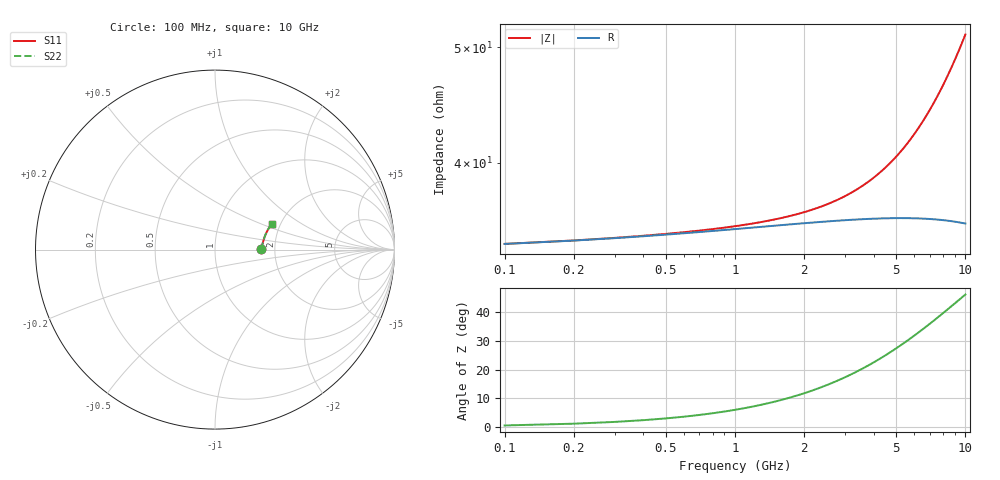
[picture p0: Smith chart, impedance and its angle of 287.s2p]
# Hz S RI R 50.00
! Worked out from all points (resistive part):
!   100 points, 100 MHz to 10 GHz, reference 50 ohm
!   read as one part in series: R = 34.2 ohm at 100 MHz
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1e8  0.2549 0.00162  0.7451 -0.00246  0.7451 -0.00246  0.2549 0.00162
2e8  0.2561 0.00323  0.7439 -0.00491  0.7439 -0.00491  0.2561 0.00323
3e8  0.257 0.00483  0.743 -0.00735  0.743 -0.00735  0.257 0.00483
4e8  0.2578 0.00642  0.7422 -0.00978  0.7422 -0.00978  0.2578 0.00642
6e8  0.259 0.0096  0.741 -0.0146  0.741 -0.0146  0.259 0.0096
8e8  0.26 0.0128  0.74 -0.0195  0.74 -0.0195  0.26 0.0128
1.1e9  0.2613 0.0175  0.7386 -0.0267  0.7386 -0.0267  0.2613 0.0175
1.8e9  0.2641 0.0284  0.7358 -0.0435  0.7358 -0.0435  0.2641 0.0284
2.2e9  0.2656 0.0345  0.7342 -0.053  0.7342 -0.053  0.2656 0.0345
2.6e9  0.2672 0.0407  0.7325 -0.0625  0.7325 -0.0625  0.2672 0.0407
3e9  0.2688 0.0467  0.7308 -0.0719  0.7308 -0.0719  0.2688 0.0467
3.4e9  0.2706 0.0528  0.729 -0.0813  0.729 -0.0813  0.2706 0.0528
3.8e9  0.2724 0.0587  0.727 -0.0907  0.727 -0.0907  0.2724 0.0587
4.2e9  0.2743 0.0647  0.7249 -0.1  0.7249 -0.1  0.2743 0.0647
4.6e9  0.2764 0.0705  0.7227 -0.1092  0.7227 -0.1092  0.2764 0.0705
5.1e9  0.2791 0.0778  0.7198 -0.1207  0.7198 -0.1207  0.2791 0.0778
5.9e9  0.2839 0.0892  0.7146 -0.1388  0.7146 -0.1388  0.2839 0.0892
6.7e9  0.2892 0.1003  0.7089 -0.1566  0.7089 -0.1566  0.2892 0.1003
7.5e9  0.2951 0.111  0.7027 -0.1741  0.7027 -0.1741  0.2951 0.111
8.4e9  0.3022 0.1226  0.695 -0.1933  0.695 -0.1933  0.3022 0.1226
9.2e9  0.309 0.1326  0.6876 -0.2101  0.6876 -0.2101  0.309 0.1326
1e10  0.3162 0.1421  0.6797 -0.2264  0.6797 -0.2264  0.3162 0.1421
